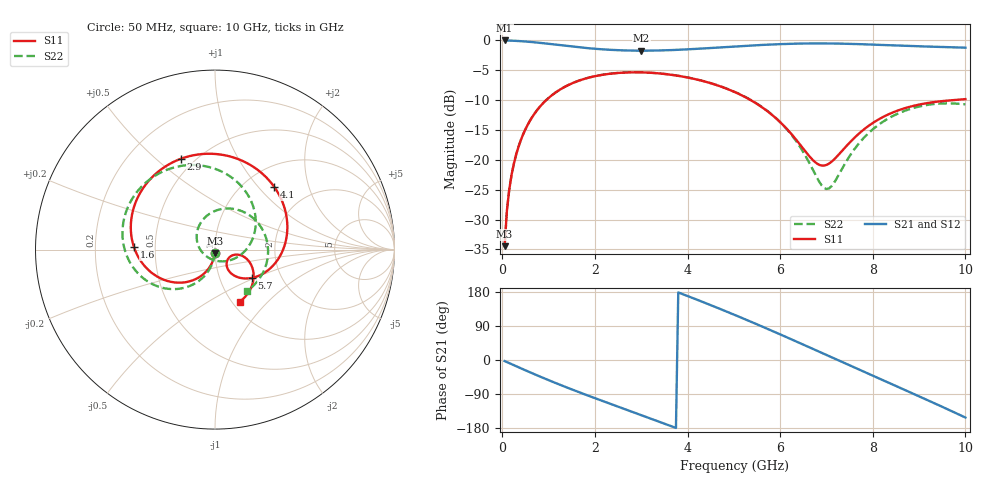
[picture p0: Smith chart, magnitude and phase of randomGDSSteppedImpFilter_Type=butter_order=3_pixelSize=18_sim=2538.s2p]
! freq	dB(S11)	phase(S11)	dB(S12)	phase(S12)
!  dB(S21)	phase(S21)	dB(S22)	phase(S22)
!S-par simulation data
#  GHz  S  DB  R 50
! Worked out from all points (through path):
!   200 points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, 50 MHz to 10 GHz, reference 50 ohm
!   highest |S21| = -0.01 dB at 50 MHz (marker M1); lowest = -1.7 dB at 3 GHz (marker M2)
!   group delay of S21, straight-line fit = 140 ps
!   lowest |S11| = -34.5 dB at 50 MHz (marker M3), VSWR 1.04, Z = 49.9 - j1.89 ohm
!   |S11| at or under -10 dB: start of sweep to 948 MHz; 5.365 GHz to 9.731 GHz (4.367 GHz wide, 57.9 % of centre)
!   |S22| runs from -34.4 to -5.3 dB; largest |S21 - S12| = 0
!   S11 on the Smith chart (normalised r, x): 50 MHz: 1.00, -0.04; 1.6 GHz: 0.38, +0.01; 2.9 GHz: 0.42, +0.60; 4.1 GHz: 1.35, +1.22; 5.7 GHz: 1.43, -0.48; 10 GHz: 1.09, -0.71
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0.05  -34.46 -93.0  -0.01 -2.8  -0.01 -2.8  -34.44 -92.4
0.1  -28.47 -96.2  -0.02 -5.5  -0.02 -5.5  -28.47 -95.1
0.2  -22.53 -102.4  -0.04 -11.0  -0.04 -11.0  -22.53 -100.2
0.45  -15.73 -117.5  -0.15 -24.5  -0.15 -24.5  -15.72 -112.6
1  -9.63 -149.2  -0.57 -53.2  -0.57 -53.2  -9.63 -138.3
1.6  -6.89 178.1  -1.10 -82.3  -1.10 -82.3  -6.88 -163.8
1.75  -6.49 170.2  -1.22 -89.2  -1.22 -89.2  -6.49 -169.8
2.3  -5.60 141.7  -1.56 -114.1  -1.56 -114.1  -5.59 169.0
2.9  -5.34 110.7  -1.71 -140.8  -1.71 -140.8  -5.33 146.8
3  -5.35 105.4  -1.72 -145.3  -1.72 -145.3  -5.34 143.1
3.4  -5.54 84.3  -1.68 -163.3  -1.68 -163.3  -5.53 128.5
4.1  -6.37 46.5  -1.45 164.2  -1.45 164.2  -6.36 102.0
5.05  -8.75 -5.3  -1.00 117.4  -1.00 117.4  -8.72 62.3
5.7  -11.71 -37.3  -0.72 83.6  -0.72 83.6  -11.67 30.0
6.2  -15.29 -54.6  -0.57 56.9  -0.57 56.9  -15.37 -1.3
6.7  -19.99 -49.8  -0.50 29.7  -0.50 29.7  -21.55 -51.2
7.05  -20.65 -25.5  -0.51 10.5  -0.51 10.5  -24.80 -125.8
7.5  -17.12 -12.2  -0.57 -14.2  -0.57 -14.2  -19.38 157.1
8.35  -12.34 -28.6  -0.80 -60.5  -0.80 -60.5  -13.01 84.5
9.15  -10.52 -48.9  -1.02 -104.1  -1.02 -104.1  -10.84 22.7
9.6  -10.09 -58.1  -1.12 -129.1  -1.12 -129.1  -10.54 -14.9
10  -9.83 -64.0  -1.21 -151.9  -1.21 -151.9  -10.71 -52.5
